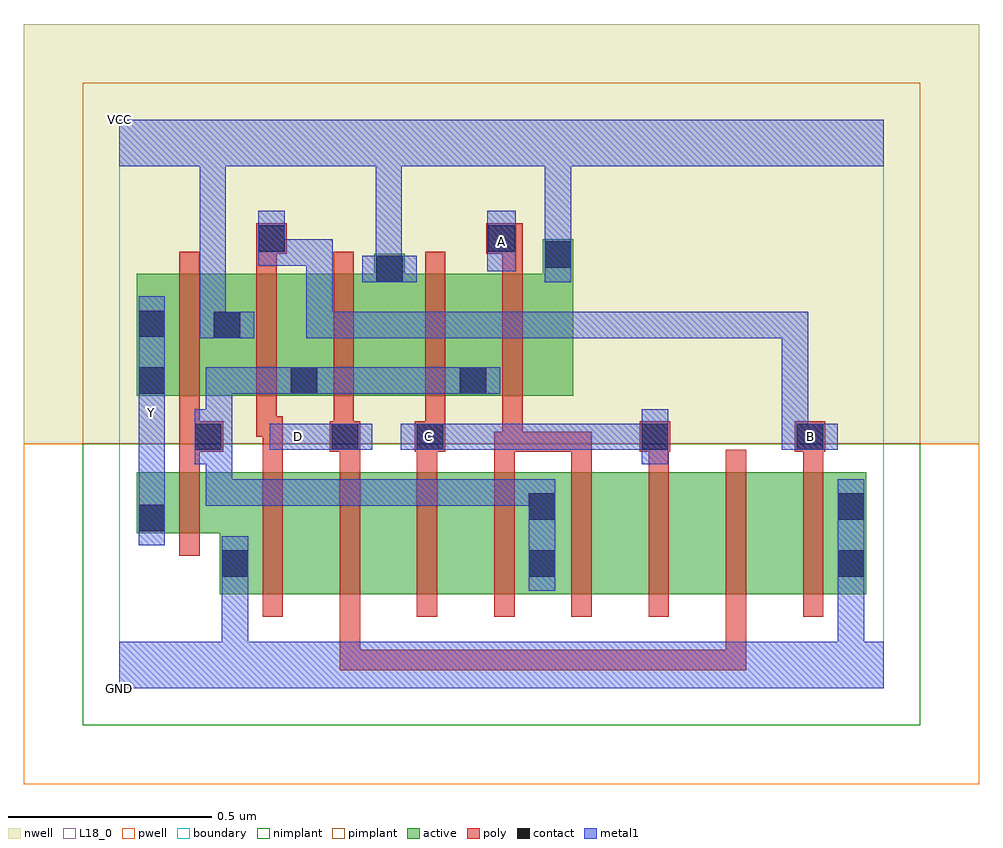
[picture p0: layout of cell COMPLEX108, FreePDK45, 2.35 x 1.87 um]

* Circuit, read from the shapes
.subckt COMPLEX108 A B C D GND VCC Y
M1 GND n1 Y VSUBS nfet w=0.15u l=0.05u
M2 n2 B GND VSUBS nfet w=0.3u l=0.05u
M3 n3 D n2 VSUBS nfet w=0.3u l=0.05u
M4 n4 C n3 VSUBS nfet w=0.3u l=0.05u
M5 n1 A n4 VSUBS nfet w=0.3u l=0.05u
M6 n5 A n1 VSUBS nfet w=0.3u l=0.05u
M7 n6 C n5 VSUBS nfet w=0.3u l=0.05u
M8 n7 D n6 VSUBS nfet w=0.3u l=0.05u
M9 GND B n7 VSUBS nfet w=0.3u l=0.05u
M10 VCC n1 Y n8 pfet w=0.3u l=0.05u
M11 n1 B VCC n8 pfet w=0.3u l=0.05u
M12 VCC D n1 n8 pfet w=0.3u l=0.05u
M13 n1 C VCC n8 pfet w=0.3u l=0.05u
M14 VCC A n1 n8 pfet w=0.3u l=0.05u
.ends

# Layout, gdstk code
import gdstk
lib = gdstk.Library(unit=1e-6, precision=1e-09)
def R(c, l, rs):  # rectangles x0, y0, x1, y1
    for r in rs: c.add(gdstk.rectangle(r[:2], r[2:], *l))
def A(c, l, x, y, w, h, nx, ny, dx, dy):  # array of equal rectangles
    R(c, l, [(x+i*dx, y+j*dy, x+i*dx+w, y+j*dy+h) for i in range(nx) for j in range(ny)])
active = (1, 0)
pwell = (2, 0)
nwell = (3, 0)
nimplant = (4, 0)
pimplant = (5, 0)
poly = (9, 0)
contact = (10, 0)
metal1 = (11, 0)
L18_0 = (18, 0)
boundary = (235, 0)

complex108 = lib.new_cell('COMPLEX108')
R(complex108, active, [(0.247,0.232,0.322,0.532), (0.247,0.232,0.472,0.532), (0.472,0.232,0.662,0.532), (0.662,0.232,0.852,0.532), (0.852,0.232,1.077,0.532), (1.002,0.232,1.077,0.532), (1.002,0.232,1.232,0.532), (1.232,0.232,1.422,0.532), (1.422,0.232,1.612,0.532), (1.612,0.232,1.837,0.532), (1.762,0.232,1.837,0.532), (0.042,0.382,0.322,0.532), (0.042,0.382,0.117,0.532), (0.042,0.72,0.117,0.957), (0.042,0.72,0.302,1.02), (0.227,0.72,0.302,0.957), (0.227,0.72,0.492,1.02), (0.417,0.72,0.702,1.02), (0.417,0.72,0.492,0.957), (0.627,0.72,0.907,1.02), (0.832,0.72,1.117,1.02), (0.832,0.72,0.907,0.937), (1.042,0.72,1.117,1.105), (0.627,0.957,0.702,1.07)])
R(complex108, pwell, [(-0.235,-0.235,2.115,0.602)])
R(complex108, nwell, [(-0.235,0.602,2.115,1.635)])
R(complex108, nimplant, [(-0.09,-0.09,1.97,0.602)])
R(complex108, pimplant, [(-0.09,0.602,1.97,1.49)])
A(complex108, poly, 0.352, 0.177, 0.05, 0.41, 8, 1, 0.19, 0)
A(complex108, poly, 0.542, 0.537, 0.05, 0.095, 5, 1, 0.19, 0)
A(complex108, poly, 0.147, 0.665, 0.05, 0.41, 3, 1, 0.19, 0)
R(complex108, poly, [(0.542,0.045,0.592,0.227), (0.542,0.045,0.592,0.095), (0.542,0.045,0.592,0.095), (0.542,0.045,0.592,0.095), (0.542,0.045,0.82,0.095), (0.77,0.045,0.82,0.095), (0.77,0.045,0.82,0.095), (0.77,0.045,0.82,0.095), (0.77,0.045,1.03,0.095), (0.98,0.045,1.03,0.095), (0.98,0.045,1.162,0.095), (1.112,0.045,1.162,0.095), (1.112,0.045,1.162,0.095), (1.112,0.045,1.162,0.095), (1.112,0.045,1.372,0.095), (1.322,0.045,1.372,0.095), (1.322,0.045,1.372,0.095), (1.322,0.045,1.372,0.095), (1.322,0.045,1.542,0.095), (1.492,0.045,1.542,0.227), (1.492,0.045,1.542,0.095), (1.492,0.045,1.542,0.095), (1.492,0.045,1.542,0.095), (0.147,0.327,0.197,0.587), (0.147,0.537,0.197,0.632), (0.352,0.537,0.402,0.67), (1.682,0.537,1.732,0.632), (0.147,0.582,0.255,0.657), (0.517,0.582,0.592,0.657), (0.727,0.582,0.802,0.657), (0.922,0.582,0.992,0.632), (0.942,0.582,1.162,0.632), (0.942,0.582,0.992,0.715), (1.112,0.582,1.162,0.632), (1.112,0.582,1.162,0.632), (1.112,0.582,1.162,0.632), (1.28,0.582,1.355,0.657), (1.662,0.582,1.737,0.657), (0.147,0.607,0.197,0.715), (0.527,0.607,0.577,0.715), (0.752,0.607,0.802,0.715), (0.337,0.62,0.387,0.715), (0.337,0.62,0.402,0.67), (0.752,0.665,0.802,1.075), (0.942,0.665,0.992,1.075), (0.337,1.025,0.387,1.12), (0.942,1.025,0.992,1.12), (0.337,1.07,0.412,1.145), (0.902,1.07,0.992,1.145)])
R(complex108, contact, [(0.252,0.275,0.317,0.34), (1.007,0.275,1.072,0.34), (1.767,0.275,1.832,0.34), (0.047,0.387,0.112,0.452), (1.007,0.415,1.072,0.48), (1.767,0.415,1.832,0.48), (0.185,0.587,0.25,0.652), (0.522,0.587,0.587,0.652), (0.732,0.587,0.797,0.652), (1.285,0.587,1.35,0.652), (1.667,0.587,1.732,0.652), (0.047,0.725,0.112,0.79), (0.422,0.725,0.487,0.79), (0.837,0.725,0.902,0.79), (0.232,0.862,0.297,0.927), (0.047,0.865,0.112,0.93), (0.632,1,0.697,1.065), (1.047,1.035,1.112,1.1), (0.342,1.075,0.407,1.14), (0.907,1.075,0.972,1.14)])
R(complex108, metal1, [(0,0,1.88,0.115), (0.252,0.05,0.317,0.115), (0.252,0.05,0.317,0.115), (0.252,0.05,0.317,0.305), (1.767,0.05,1.832,0.305), (0.252,0.24,0.317,0.375), (1.007,0.24,1.072,0.515), (1.767,0.24,1.832,0.305), (1.767,0.24,1.832,0.305), (1.767,0.24,1.832,0.515), (0.047,0.352,0.112,0.487), (0.047,0.422,0.112,0.677), (0.212,0.45,0.277,0.515), (0.212,0.45,0.415,0.515), (0.212,0.45,0.277,0.617), (0.35,0.45,0.415,0.515), (0.35,0.45,0.415,0.515), (0.35,0.45,0.415,0.515), (0.35,0.45,0.552,0.515), (0.487,0.45,0.552,0.515), (0.487,0.45,0.662,0.515), (0.597,0.45,0.662,0.515), (0.597,0.45,0.832,0.515), (0.767,0.45,0.832,0.515), (0.767,0.45,0.832,0.515), (0.767,0.45,0.832,0.515), (0.767,0.45,1.072,0.515), (1.007,0.45,1.072,0.515), (1.007,0.45,1.072,0.515), (0.185,0.552,0.25,0.687), (0.185,0.552,0.277,0.617), (0.212,0.552,0.277,0.617), (0.212,0.552,0.277,0.79), (1.285,0.552,1.35,0.687), (0.37,0.587,0.525,0.652), (0.46,0.587,0.552,0.652), (0.487,0.587,0.622,0.652), (0.692,0.587,0.832,0.652), (0.767,0.587,0.832,0.652), (0.767,0.587,0.832,0.652), (0.767,0.587,0.97,0.652), (0.905,0.587,0.97,0.652), (0.905,0.587,0.97,0.652), (0.905,0.587,0.97,0.652), (0.905,0.587,1.212,0.652), (1.147,0.587,1.212,0.652), (1.147,0.587,1.212,0.652), (1.147,0.587,1.212,0.652), (1.147,0.587,1.35,0.652), (1.63,0.587,1.695,0.652), (1.63,0.587,1.695,0.652), (1.63,0.587,1.767,0.652), (1.63,0.587,1.695,0.927), (0.047,0.612,0.112,0.755), (0.047,0.69,0.112,0.755), (0.047,0.69,0.112,0.965), (0.212,0.725,0.277,0.79), (0.212,0.725,0.4,0.79), (0.335,0.725,0.4,0.79), (0.335,0.725,0.452,0.79), (0.387,0.725,0.522,0.79), (0.457,0.725,0.552,0.79), (0.487,0.725,0.552,0.79), (0.487,0.725,0.695,0.79), (0.63,0.725,0.695,0.79), (0.63,0.725,0.695,0.79), (0.63,0.725,0.695,0.79), (0.63,0.725,0.867,0.79), (0.802,0.725,0.937,0.79), (0.197,0.862,0.262,0.927), (0.197,0.862,0.262,0.927), (0.197,0.862,0.262,0.927), (0.197,0.862,0.262,0.927), (0.197,0.862,0.332,0.927), (0.197,0.862,0.262,1.35), (0.46,0.862,0.525,0.927), (0.46,0.862,0.557,0.927), (0.46,0.862,0.525,1.105), (0.492,0.862,0.557,0.927), (0.492,0.862,0.695,0.927), (0.63,0.862,0.695,0.927), (0.63,0.862,0.832,0.927), (0.767,0.862,0.832,0.927), (0.767,0.862,0.832,0.927), (0.767,0.862,0.832,0.927), (0.767,0.862,0.97,0.927), (0.905,0.862,0.97,0.927), (0.905,0.862,1.075,0.927), (1.01,0.862,1.075,0.927), (1.01,0.862,1.075,0.927), (1.01,0.862,1.075,0.927), (1.01,0.862,1.212,0.927), (1.147,0.862,1.212,0.927), (1.147,0.862,1.35,0.927), (1.285,0.862,1.35,0.927), (1.285,0.862,1.35,0.927), (1.285,0.862,1.35,0.927), (1.285,0.862,1.557,0.927), (1.492,0.862,1.557,0.927), (1.492,0.862,1.557,0.927), (1.492,0.862,1.557,0.927), (1.492,0.862,1.695,0.927), (1.63,0.862,1.695,0.927), (0.597,1,0.732,1.065), (0.63,1,0.695,1.065), (0.63,1,0.695,1.065), (0.63,1,0.695,1.35), (1.047,1,1.112,1.135), (0.905,1.027,0.975,1.175), (0.342,1.04,0.407,1.175), (0.342,1.04,0.525,1.105), (0.46,1.04,0.525,1.105), (0.46,1.04,0.525,1.105), (0.46,1.04,0.525,1.105), (1.047,1.07,1.112,1.135), (1.047,1.07,1.112,1.135), (1.047,1.07,1.112,1.135), (1.047,1.07,1.112,1.135), (1.047,1.07,1.112,1.35), (0,1.285,1.88,1.4), (0.63,1.285,0.695,1.35), (0.63,1.285,0.695,1.35)])
R(complex108, L18_0, [(0,0,1.88,0.115), (0.252,0.05,0.317,0.305), (0.252,0.05,0.317,0.115), (0.252,0.05,0.317,0.115), (1.767,0.05,1.832,0.305), (0.252,0.24,0.317,0.375), (1.767,0.24,1.832,0.515), (1.767,0.24,1.832,0.305), (1.767,0.24,1.832,0.305), (0.047,0.352,0.112,0.487), (0.047,0.422,0.112,0.677), (1.285,0.552,1.35,0.687), (0.37,0.587,0.525,0.652), (0.407,0.587,0.472,0.652), (0.46,0.587,0.552,0.652), (0.487,0.587,0.622,0.652), (0.692,0.587,0.832,0.652), (0.727,0.587,0.792,0.652), (0.767,0.587,0.832,0.652), (0.767,0.587,0.832,0.652), (0.767,0.587,0.97,0.652), (0.905,0.587,0.97,0.652), (0.905,0.587,0.97,0.652), (0.905,0.587,0.97,0.652), (0.905,0.587,1.212,0.652), (1.147,0.587,1.212,0.652), (1.147,0.587,1.212,0.652), (1.147,0.587,1.212,0.652), (1.147,0.587,1.35,0.652), (1.63,0.587,1.695,0.652), (1.63,0.587,1.695,0.652), (1.63,0.587,1.695,0.927), (1.63,0.587,1.767,0.652), (1.667,0.587,1.732,0.652), (0.047,0.612,0.112,0.755), (0.047,0.647,0.112,0.712), (0.047,0.69,0.112,0.965), (0.047,0.69,0.112,0.755), (0.197,0.862,0.262,0.927), (0.197,0.862,0.262,0.927), (0.197,0.862,0.262,0.927), (0.197,0.862,0.262,0.927), (0.197,0.862,0.332,0.927), (0.197,0.862,0.262,1.35), (0.46,0.862,0.525,0.927), (0.46,0.862,0.525,1.105), (0.46,0.862,0.557,0.927), (0.492,0.862,0.557,0.927), (0.492,0.862,0.695,0.927), (0.63,0.862,0.695,0.927), (0.63,0.862,0.832,0.927), (0.767,0.862,0.832,0.927), (0.767,0.862,0.832,0.927), (0.767,0.862,0.832,0.927), (0.767,0.862,0.97,0.927), (0.905,0.862,0.97,0.927), (0.905,0.862,1.075,0.927), (1.01,0.862,1.075,0.927), (1.01,0.862,1.075,0.927), (1.01,0.862,1.075,0.927), (1.01,0.862,1.212,0.927), (1.147,0.862,1.212,0.927), (1.147,0.862,1.35,0.927), (1.285,0.862,1.35,0.927), (1.285,0.862,1.35,0.927), (1.285,0.862,1.35,0.927), (1.285,0.862,1.557,0.927), (1.492,0.862,1.557,0.927), (1.492,0.862,1.557,0.927), (1.492,0.862,1.557,0.927), (1.492,0.862,1.695,0.927), (1.63,0.862,1.695,0.927), (0.597,1,0.732,1.065), (0.63,1,0.695,1.065), (0.63,1,0.695,1.065), (0.63,1,0.695,1.35), (1.047,1,1.112,1.135), (0.905,1.027,0.975,1.175), (0.342,1.04,0.407,1.175), (0.342,1.04,0.525,1.105), (0.46,1.04,0.525,1.105), (0.46,1.04,0.525,1.105), (0.46,1.04,0.525,1.105), (0.907,1.067,0.972,1.132), (1.047,1.07,1.112,1.135), (1.047,1.07,1.112,1.135), (1.047,1.07,1.112,1.135), (1.047,1.07,1.112,1.135), (1.047,1.07,1.112,1.35), (0,1.285,1.88,1.4), (0.63,1.285,0.695,1.35), (0.63,1.285,0.695,1.35)])
R(complex108, boundary, [(0,0,1.88,1.4)])
complex108.add(gdstk.Label('A', (0.94,1.1), layer=11, texttype=0))
complex108.add(gdstk.Label('B', (1.7,0.62), layer=11, texttype=0))
complex108.add(gdstk.Label('C', (0.76,0.62), layer=11, texttype=0))
complex108.add(gdstk.Label('D', (0.44,0.62), layer=11, texttype=0))
complex108.add(gdstk.Label('Y', (0.08,0.68), layer=11, texttype=0))
complex108.add(gdstk.Label('VCC', (0,1.4), layer=11, texttype=0))
complex108.add(gdstk.Label('GND', (0,0), layer=11, texttype=0))

lib.write_gds('COMPLEX108.gds')
